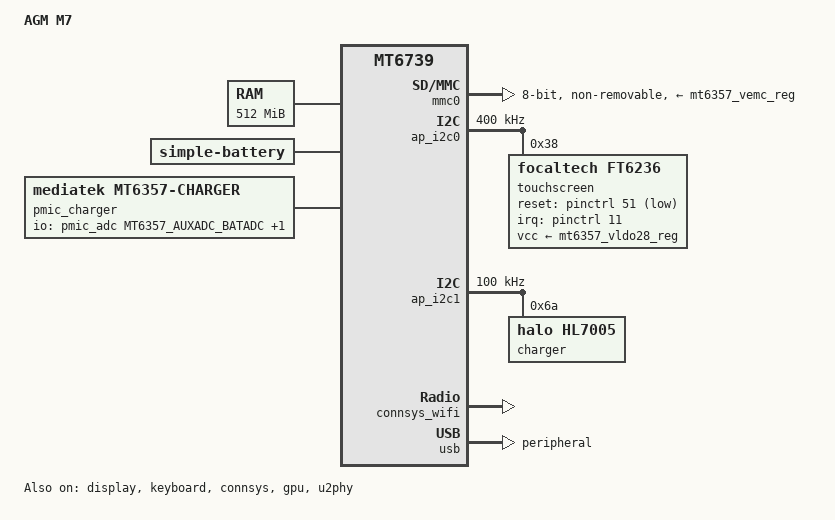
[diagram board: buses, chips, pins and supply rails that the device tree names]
// SPDX-License-Identifier: GPL-2.0-only OR MIT

/dts-v1/;

#include "mt6739.dtsi"
#include "mt6357.dtsi"

#include <dt-bindings/gpio/gpio.h>
#include <dt-bindings/iio/adc/mediatek,mt6357-auxadc.h>

/ {
	model = "AGM M7";
	compatible = "agm,m7", "mediatek,mt6739";

	aliases {
		serial0 = &uart0;
	};

	chosen {
		bootargs = "";
	};

	/* LK looks up "/memory" by exact path and rewrites it. */
	memory {
		device_type = "memory";
		reg = <0 0x40000000 0 0x20000000>;
	};

	battery: battery {
		compatible = "simple-battery";
		device-chemistry = "lithium-ion";
		voltage-min-design-microvolt = <3400000>;
		voltage-max-design-microvolt = <4350000>;
		charge-full-design-microamp-hours = <2500000>;
		constant-charge-voltage-max-microvolt = <4200000>;
		constant-charge-current-max-microamp = <450000>;
		charge-term-current-microamp = <150000>;
		ocv-capacity-celsius = <25>;
		ocv-capacity-table-0 = <4185000 100>, <4124700 95>, <4076100 90>,
				       <4030900 85>, <3980100 80>, <3957200 75>,
				       <3923800 70>, <3895700 65>, <3866500 60>,
				       <3826200 55>, <3806800 50>, <3791600 45>,
				       <3781300 40>, <3774800 35>, <3770400 30>,
				       <3758900 25>, <3741700 20>, <3717300 15>,
				       <3687800 10>, <3667500 5>, <3327000 0>;
	};

	reserved-memory {
		#address-cells = <2>;
		#size-cells = <2>;
		ranges;

		/* Stock kernel layout: dump zones, then the console zone. */
		ramoops@44410000 {
			compatible = "ramoops";
			reg = <0 0x44410000 0 0x4f000>;
			record-size = <0x1000>;
		};

		/* Used by earlycon=pstoreram. */
		console-ramoops@4445f000 {
			reg = <0 0x4445f000 0 0x40000>;
			no-map;
		};

		connsys_mem: connsys-memory {
			no-map;
			size = <0 0x200000>;
			alignment = <0 0x200000>;
			alloc-ranges = <0 0x40000000 0 0x38000000>;
		};
	};

	/* LK asserts unless its ODM overlay applies, so give it these targets. */
	lk-odm-overlay-sink {
		chosen: chosen {
		};

		odm: odm {
		};

		pio: pio {
		};

		button_bl_gpio: button-bl-gpio {
		};

		i2c1: i2c1 {
		};

		mtkfb: mtkfb {
		};

		accdet: accdet {
		};

		consys: consys {
		};

		i2c2: i2c2 {
		};

		irtx_pwm: irtx-pwm {
		};

		apuart0: apuart0 {
		};

		i2c3: i2c3 {
		};

		wusb3801x: wusb3801x {
		};

		irq_wusb3801x: irq-wusb3801x {
		};

		touch: touch {
		};

		kd_camera_hw1: kd-camera-hw1 {
		};

		flashlights_gpio_dev: flashlights-gpio-dev {
		};

		audgpio: audgpio {
		};

		speaker: speaker {
		};

		tyd_mic_gpio: tyd-mic-gpio {
		};

		msdc1: msdc1 {
		};

		nfc: nfc {
		};

		led_gpio: led-gpio {
		};

		charger: charger {
		};

		auxadc: auxadc {
		};

		pmic_clock_buffer_ctrl: pmic-clock-buffer-ctrl {
		};

		i2c0: i2c0 {
		};

		i2c4: i2c4 {
		};

		i2c5: i2c5 {
		};

		gpio_usage_mapping: gpio-usage-mapping {
		};

		chr_stat: chr-stat {
		};

		irq_nfc: irq-nfc {
		};

		otg_iddig: otg-iddig {
		};

		main_pmic: main-pmic {
		};

		mt_pmic_vcama_ldo_reg: mt-pmic-vcama-ldo-reg {
		};

		mt_pmic_vsim1_ldo_reg: mt-pmic-vsim1-ldo-reg {
		};

		mt_pmic_vsim2_ldo_reg: mt-pmic-vsim2-ldo-reg {
		};

		mt_pmic_vcamd_ldo_reg: mt-pmic-vcamd-ldo-reg {
		};

		mt_pmic_vcamio_ldo_reg: mt-pmic-vcamio-ldo-reg {
		};

		mt_pmic_vldo28_ldo_reg: mt-pmic-vldo28-ldo-reg {
		};

		keypad: keypad {
		};
	};
};

&display {
	width-mm = <37>;
	height-mm = <49>;
	status = "okay";
};

&keyboard {
	keypad,num-rows = <8>;
	keypad,num-columns = <9>;
	linux,keymap = <MATRIX_KEY(0, 1, KEY_F11)
			MATRIX_KEY(3, 3, KEY_MENU)
			MATRIX_KEY(3, 4, KEY_LEFT)
			MATRIX_KEY(3, 5, KEY_2)
			MATRIX_KEY(3, 6, KEY_8)
			MATRIX_KEY(4, 3, KEY_UP)
			MATRIX_KEY(4, 4, KEY_DOWN)
			MATRIX_KEY(4, 5, KEY_4)
			MATRIX_KEY(4, 6, KEY_9)
			MATRIX_KEY(5, 3, KEY_BACK)
			MATRIX_KEY(5, 4, KEY_RIGHT)
			MATRIX_KEY(5, 5, KEY_5)
			MATRIX_KEY(5, 6, KEY_NUMERIC_STAR)
			MATRIX_KEY(6, 3, KEY_ENTER)
			MATRIX_KEY(6, 4, KEY_3)
			MATRIX_KEY(6, 5, KEY_6)
			MATRIX_KEY(6, 6, KEY_0)
			MATRIX_KEY(7, 3, KEY_SEND)
			MATRIX_KEY(7, 4, KEY_1)
			MATRIX_KEY(7, 5, KEY_7)
			MATRIX_KEY(7, 6, KEY_NUMERIC_POUND)>;
	status = "okay";
};

&mmc0 {
	pinctrl-names = "default", "state_uhs";
	pinctrl-0 = <&mmc0_pins>;
	pinctrl-1 = <&mmc0_pins>;
	bus-width = <8>;
	max-frequency = <200000000>;
	vmmc-supply = <&mt6357_vemc_reg>;
	cap-mmc-highspeed;
	mmc-hs200-1_8v;
	non-removable;
	no-sd;
	no-sdio;
	status = "okay";
};

&pinctrl {
	mmc0_pins: mmc0-pins {
		pins-cmd-dat {
			pinmux = <PINMUX_GPIO38__FUNC_MSDC0_CMD>,
				 <PINMUX_GPIO41__FUNC_MSDC0_DAT0>,
				 <PINMUX_GPIO42__FUNC_MSDC0_DAT1>,
				 <PINMUX_GPIO43__FUNC_MSDC0_DAT2>,
				 <PINMUX_GPIO44__FUNC_MSDC0_DAT3>,
				 <PINMUX_GPIO45__FUNC_MSDC0_DAT4>,
				 <PINMUX_GPIO46__FUNC_MSDC0_DAT5>,
				 <PINMUX_GPIO47__FUNC_MSDC0_DAT6>,
				 <PINMUX_GPIO48__FUNC_MSDC0_DAT7>;
			input-enable;
			drive-strength = <4>;
			bias-pull-up = <MTK_PUPD_SET_R1R0_01>;
		};

		pins-clk-dsl {
			pinmux = <PINMUX_GPIO40__FUNC_MSDC0_CLK>,
				 <PINMUX_GPIO39__FUNC_MSDC0_DSL>;
			drive-strength = <4>;
			bias-pull-down = <MTK_PUPD_SET_R1R0_10>;
		};

		pins-rst {
			pinmux = <PINMUX_GPIO49__FUNC_MSDC0_RSTB>;
			drive-strength = <4>;
		};
	};
};

&ap_i2c0 {
	clock-frequency = <400000>;
	status = "okay";

	touchscreen@38 {
		compatible = "focaltech,ft6236";
		reg = <0x38>;
		interrupts-extended = <&pinctrl 11 IRQ_TYPE_EDGE_FALLING>;
		reset-gpios = <&pinctrl 51 GPIO_ACTIVE_LOW>;
		vcc-supply = <&mt6357_vldo28_reg>;
		touchscreen-size-x = <240>;
		touchscreen-size-y = <320>;
	};
};

&ap_i2c1 {
	clock-frequency = <100000>;
	status = "okay";

	charger@6a {
		compatible = "halo,hl7005";
		reg = <0x6a>;
		monitored-battery = <&battery>;
	};
};

&connsys {
	memory-region = <&connsys_mem>;
	vcn18-supply = <&mt6357_vcn18_reg>;
	vcn28-supply = <&mt6357_vcn28_reg>;
	vcn33-bt-supply = <&mt6357_vcn33_bt_reg>;
	vcn33-wifi-supply = <&mt6357_vcn33_wifi_reg>;
	status = "okay";
};

&connsys_wifi {
	status = "okay";
};

&gpu {
	status = "okay";
};

&mt6357_rtc {
	mode-recovery = <0x10>;
	mode-bootloader = <0x2000>;
};

&mt6357_pmic {
	interrupts-extended = <&pinctrl 182 IRQ_TYPE_LEVEL_HIGH>;
	interrupt-controller;
	#interrupt-cells = <2>;

	keys {
		/* Same as stock: one-key long-press reset, shortest time. */
		mediatek,long-press-mode = <1>;
		power-off-time-sec = <0>;

		/delete-node/ key-home;
	};

	power-controller {
		compatible = "mediatek,mt6357-pwrc";
	};

	pmic_charger: charger {
		compatible = "mediatek,mt6357-charger";
		io-channels = <&pmic_adc MT6357_AUXADC_BATADC>,
			      <&pmic_adc MT6357_AUXADC_BAT_TEMP>;
		io-channel-names = "vbat", "temp";
		monitored-battery = <&battery>;
	};
};

&mt6357_vdram_reg {
	regulator-always-on;
};

&mt6357_vio28_reg {
	regulator-always-on;
};

&mt6357_vusb33_reg {
	regulator-always-on;
};

&mt6357_vxo22_reg {
	regulator-always-on;
};

&u2phy {
	status = "okay";
};

&usb {
	dr_mode = "peripheral";
	status = "okay";
};

&watchdog {
	mediatek,lk-normal-restart;
};
